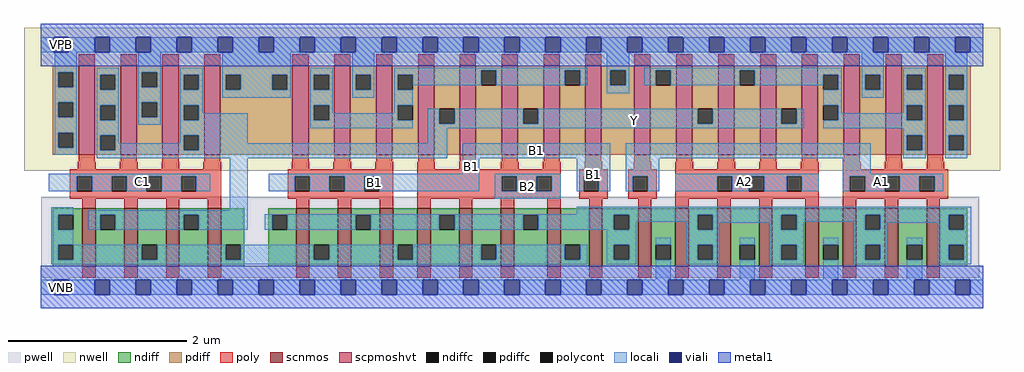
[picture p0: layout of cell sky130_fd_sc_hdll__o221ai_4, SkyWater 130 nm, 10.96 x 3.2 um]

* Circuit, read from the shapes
.subckt sky130_fd_sc_hdll__o221ai_4 A1 A2 B1 B2 C1 VGND VNB VPB VPWR Y
XM1 Y C1 n1 VNB sky130_fd_pr__nfet_01v8 w=0.65 l=0.15 m=4
XM2 n1 B1 n2 VNB sky130_fd_pr__nfet_01v8 w=0.65 l=0.15 m=4
XM3 n2 B2 n1 VNB sky130_fd_pr__nfet_01v8 w=0.65 l=0.15 m=4
XM4 VGND A1 n2 VNB sky130_fd_pr__nfet_01v8 w=0.65 l=0.15 m=4
XM5 n2 A2 VGND VNB sky130_fd_pr__nfet_01v8 w=0.65 l=0.15 m=4
XM6 Y C1 VPWR VPB sky130_fd_pr__pfet_01v8_hvt w=1 l=0.18 m=4
XM7 n3 B1 VPWR VPB sky130_fd_pr__pfet_01v8_hvt w=1 l=0.18 m=4
XM8 Y B2 n3 VPB sky130_fd_pr__pfet_01v8_hvt w=1 l=0.18 m=4
XM9 n4 A1 VPWR VPB sky130_fd_pr__pfet_01v8_hvt w=1 l=0.18 m=4
XM10 Y A2 n4 VPB sky130_fd_pr__pfet_01v8_hvt w=1 l=0.18 m=4
.ends

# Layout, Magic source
magic
tech sky130A
magscale 1 2
<< nwell >>
rect -38 261 2154 582
<< pwell >>
rect 1 21 2107 203
rect 30 -17 64 21
<< scnmos >>
rect 93 47 123 177
rect 187 47 217 177
rect 281 47 311 177
rect 375 47 405 177
rect 573 47 603 177
rect 667 47 697 177
rect 761 47 791 177
rect 845 47 875 177
rect 939 47 969 177
rect 1033 47 1063 177
rect 1137 47 1167 177
rect 1231 47 1261 177
rect 1341 47 1371 177
rect 1425 47 1455 177
rect 1519 47 1549 177
rect 1613 47 1643 177
rect 1717 47 1747 177
rect 1801 47 1831 177
rect 1895 47 1925 177
rect 1989 47 2019 177
<< scpmoshvt >>
rect 85 297 121 497
rect 179 297 215 497
rect 273 297 309 497
rect 367 297 403 497
rect 565 297 601 497
rect 659 297 695 497
rect 753 297 789 497
rect 847 297 883 497
rect 941 297 977 497
rect 1035 297 1071 497
rect 1129 297 1165 497
rect 1223 297 1259 497
rect 1333 297 1369 497
rect 1427 297 1463 497
rect 1521 297 1557 497
rect 1615 297 1651 497
rect 1709 297 1745 497
rect 1803 297 1839 497
rect 1897 297 1933 497
rect 1991 297 2027 497
<< ndiff >>
rect 27 163 93 177
rect 27 129 39 163
rect 73 129 93 163
rect 27 95 93 129
rect 27 61 39 95
rect 73 61 93 95
rect 27 47 93 61
rect 123 163 187 177
rect 123 129 133 163
rect 167 129 187 163
rect 123 47 187 129
rect 217 95 281 177
rect 217 61 227 95
rect 261 61 281 95
rect 217 47 281 61
rect 311 163 375 177
rect 311 129 321 163
rect 355 129 375 163
rect 311 47 375 129
rect 405 95 457 177
rect 405 61 415 95
rect 449 61 457 95
rect 405 47 457 61
rect 511 163 573 177
rect 511 129 519 163
rect 553 129 573 163
rect 511 47 573 129
rect 603 95 667 177
rect 603 61 613 95
rect 647 61 667 95
rect 603 47 667 61
rect 697 163 761 177
rect 697 129 707 163
rect 741 129 761 163
rect 697 47 761 129
rect 791 95 845 177
rect 791 61 801 95
rect 835 61 845 95
rect 791 47 845 61
rect 875 163 939 177
rect 875 129 895 163
rect 929 129 939 163
rect 875 47 939 129
rect 969 95 1033 177
rect 969 61 989 95
rect 1023 61 1033 95
rect 969 47 1033 61
rect 1063 163 1137 177
rect 1063 129 1083 163
rect 1117 129 1137 163
rect 1063 47 1137 129
rect 1167 95 1231 177
rect 1167 61 1177 95
rect 1211 61 1231 95
rect 1167 47 1231 61
rect 1261 163 1341 177
rect 1261 129 1287 163
rect 1321 129 1341 163
rect 1261 95 1341 129
rect 1261 61 1287 95
rect 1321 61 1341 95
rect 1261 47 1341 61
rect 1371 95 1425 177
rect 1371 61 1381 95
rect 1415 61 1425 95
rect 1371 47 1425 61
rect 1455 163 1519 177
rect 1455 129 1475 163
rect 1509 129 1519 163
rect 1455 95 1519 129
rect 1455 61 1475 95
rect 1509 61 1519 95
rect 1455 47 1519 61
rect 1549 95 1613 177
rect 1549 61 1569 95
rect 1603 61 1613 95
rect 1549 47 1613 61
rect 1643 163 1717 177
rect 1643 129 1663 163
rect 1697 129 1717 163
rect 1643 95 1717 129
rect 1643 61 1663 95
rect 1697 61 1717 95
rect 1643 47 1717 61
rect 1747 95 1801 177
rect 1747 61 1757 95
rect 1791 61 1801 95
rect 1747 47 1801 61
rect 1831 163 1895 177
rect 1831 129 1851 163
rect 1885 129 1895 163
rect 1831 95 1895 129
rect 1831 61 1851 95
rect 1885 61 1895 95
rect 1831 47 1895 61
rect 1925 95 1989 177
rect 1925 61 1945 95
rect 1979 61 1989 95
rect 1925 47 1989 61
rect 2019 163 2081 177
rect 2019 129 2039 163
rect 2073 129 2081 163
rect 2019 95 2081 129
rect 2019 61 2039 95
rect 2073 61 2081 95
rect 2019 47 2081 61
<< pdiff >>
rect 27 483 85 497
rect 27 449 39 483
rect 73 449 85 483
rect 27 415 85 449
rect 27 381 39 415
rect 73 381 85 415
rect 27 347 85 381
rect 27 313 39 347
rect 73 313 85 347
rect 27 297 85 313
rect 121 477 179 497
rect 121 443 133 477
rect 167 443 179 477
rect 121 409 179 443
rect 121 375 133 409
rect 167 375 179 409
rect 121 341 179 375
rect 121 307 133 341
rect 167 307 179 341
rect 121 297 179 307
rect 215 483 273 497
rect 215 449 227 483
rect 261 449 273 483
rect 215 415 273 449
rect 215 381 227 415
rect 261 381 273 415
rect 215 297 273 381
rect 309 477 367 497
rect 309 443 321 477
rect 355 443 367 477
rect 309 409 367 443
rect 309 375 321 409
rect 355 375 367 409
rect 309 341 367 375
rect 309 307 321 341
rect 355 307 367 341
rect 309 297 367 307
rect 403 477 565 497
rect 403 443 415 477
rect 449 443 519 477
rect 553 443 565 477
rect 403 297 565 443
rect 601 477 659 497
rect 601 443 613 477
rect 647 443 659 477
rect 601 409 659 443
rect 601 375 613 409
rect 647 375 659 409
rect 601 297 659 375
rect 695 477 753 497
rect 695 443 707 477
rect 741 443 753 477
rect 695 297 753 443
rect 789 477 847 497
rect 789 443 801 477
rect 835 443 847 477
rect 789 409 847 443
rect 789 375 801 409
rect 835 375 847 409
rect 789 297 847 375
rect 883 401 941 497
rect 883 367 895 401
rect 929 367 941 401
rect 883 297 941 367
rect 977 487 1035 497
rect 977 453 989 487
rect 1023 453 1035 487
rect 977 297 1035 453
rect 1071 401 1129 497
rect 1071 367 1083 401
rect 1117 367 1129 401
rect 1071 297 1129 367
rect 1165 487 1223 497
rect 1165 453 1177 487
rect 1211 453 1223 487
rect 1165 297 1223 453
rect 1259 487 1333 497
rect 1259 453 1279 487
rect 1313 453 1333 487
rect 1259 297 1333 453
rect 1369 487 1427 497
rect 1369 453 1381 487
rect 1415 453 1427 487
rect 1369 297 1427 453
rect 1463 401 1521 497
rect 1463 367 1475 401
rect 1509 367 1521 401
rect 1463 297 1521 367
rect 1557 487 1615 497
rect 1557 453 1569 487
rect 1603 453 1615 487
rect 1557 297 1615 453
rect 1651 401 1709 497
rect 1651 367 1663 401
rect 1697 367 1709 401
rect 1651 297 1709 367
rect 1745 477 1803 497
rect 1745 443 1757 477
rect 1791 443 1803 477
rect 1745 409 1803 443
rect 1745 375 1757 409
rect 1791 375 1803 409
rect 1745 297 1803 375
rect 1839 477 1897 497
rect 1839 443 1851 477
rect 1885 443 1897 477
rect 1839 297 1897 443
rect 1933 477 1991 497
rect 1933 443 1945 477
rect 1979 443 1991 477
rect 1933 409 1991 443
rect 1933 375 1945 409
rect 1979 375 1991 409
rect 1933 341 1991 375
rect 1933 307 1945 341
rect 1979 307 1991 341
rect 1933 297 1991 307
rect 2027 477 2088 497
rect 2027 443 2039 477
rect 2073 443 2088 477
rect 2027 409 2088 443
rect 2027 375 2039 409
rect 2073 375 2088 409
rect 2027 341 2088 375
rect 2027 307 2039 341
rect 2073 307 2088 341
rect 2027 297 2088 307
<< ndiffc >>
rect 39 129 73 163
rect 39 61 73 95
rect 133 129 167 163
rect 227 61 261 95
rect 321 129 355 163
rect 415 61 449 95
rect 519 129 553 163
rect 613 61 647 95
rect 707 129 741 163
rect 801 61 835 95
rect 895 129 929 163
rect 989 61 1023 95
rect 1083 129 1117 163
rect 1177 61 1211 95
rect 1287 129 1321 163
rect 1287 61 1321 95
rect 1381 61 1415 95
rect 1475 129 1509 163
rect 1475 61 1509 95
rect 1569 61 1603 95
rect 1663 129 1697 163
rect 1663 61 1697 95
rect 1757 61 1791 95
rect 1851 129 1885 163
rect 1851 61 1885 95
rect 1945 61 1979 95
rect 2039 129 2073 163
rect 2039 61 2073 95
<< pdiffc >>
rect 39 449 73 483
rect 39 381 73 415
rect 39 313 73 347
rect 133 443 167 477
rect 133 375 167 409
rect 133 307 167 341
rect 227 449 261 483
rect 227 381 261 415
rect 321 443 355 477
rect 321 375 355 409
rect 321 307 355 341
rect 415 443 449 477
rect 519 443 553 477
rect 613 443 647 477
rect 613 375 647 409
rect 707 443 741 477
rect 801 443 835 477
rect 801 375 835 409
rect 895 367 929 401
rect 989 453 1023 487
rect 1083 367 1117 401
rect 1177 453 1211 487
rect 1279 453 1313 487
rect 1381 453 1415 487
rect 1475 367 1509 401
rect 1569 453 1603 487
rect 1663 367 1697 401
rect 1757 443 1791 477
rect 1757 375 1791 409
rect 1851 443 1885 477
rect 1945 443 1979 477
rect 1945 375 1979 409
rect 1945 307 1979 341
rect 2039 443 2073 477
rect 2039 375 2073 409
rect 2039 307 2073 341
<< poly >>
rect 85 497 121 523
rect 179 497 215 523
rect 273 497 309 523
rect 367 497 403 523
rect 565 497 601 523
rect 659 497 695 523
rect 753 497 789 523
rect 847 497 883 523
rect 941 497 977 523
rect 1035 497 1071 523
rect 1129 497 1165 523
rect 1223 497 1259 523
rect 1333 497 1369 523
rect 1427 497 1463 523
rect 1521 497 1557 523
rect 1615 497 1651 523
rect 1709 497 1745 523
rect 1803 497 1839 523
rect 1897 497 1933 523
rect 1991 497 2027 523
rect 85 282 121 297
rect 179 282 215 297
rect 273 282 309 297
rect 367 282 403 297
rect 565 282 601 297
rect 659 282 695 297
rect 753 282 789 297
rect 847 282 883 297
rect 941 282 977 297
rect 1035 282 1071 297
rect 1129 282 1165 297
rect 1223 282 1259 297
rect 1333 282 1369 297
rect 1427 282 1463 297
rect 1521 282 1557 297
rect 1615 282 1651 297
rect 1709 282 1745 297
rect 1803 282 1839 297
rect 1897 282 1933 297
rect 1991 282 2027 297
rect 83 265 123 282
rect 177 265 217 282
rect 271 265 311 282
rect 365 265 405 282
rect 563 265 603 282
rect 657 265 697 282
rect 751 265 791 282
rect 65 249 405 265
rect 65 215 81 249
rect 115 215 159 249
rect 193 215 237 249
rect 271 215 315 249
rect 349 215 405 249
rect 65 199 405 215
rect 554 249 791 265
rect 554 215 570 249
rect 604 215 648 249
rect 682 215 726 249
rect 760 215 791 249
rect 554 199 791 215
rect 93 177 123 199
rect 187 177 217 199
rect 281 177 311 199
rect 375 177 405 199
rect 573 177 603 199
rect 667 177 697 199
rect 761 177 791 199
rect 845 265 885 282
rect 939 265 979 282
rect 1033 265 1073 282
rect 1127 265 1167 282
rect 1221 265 1261 282
rect 1331 265 1371 282
rect 1425 265 1465 282
rect 1519 265 1559 282
rect 1613 265 1653 282
rect 1707 265 1747 282
rect 845 249 1167 265
rect 845 215 1035 249
rect 1069 215 1113 249
rect 1147 215 1167 249
rect 845 199 1167 215
rect 1209 249 1273 265
rect 1209 215 1219 249
rect 1253 215 1273 249
rect 1209 199 1273 215
rect 1319 249 1383 265
rect 1319 215 1329 249
rect 1363 215 1383 249
rect 1319 199 1383 215
rect 1425 249 1747 265
rect 1425 215 1519 249
rect 1553 215 1590 249
rect 1624 215 1675 249
rect 1709 215 1747 249
rect 1425 199 1747 215
rect 845 177 875 199
rect 939 177 969 199
rect 1033 177 1063 199
rect 1137 177 1167 199
rect 1231 177 1261 199
rect 1341 177 1371 199
rect 1425 177 1455 199
rect 1519 177 1549 199
rect 1613 177 1643 199
rect 1717 177 1747 199
rect 1801 265 1841 282
rect 1895 265 1935 282
rect 1989 265 2029 282
rect 1801 249 2038 265
rect 1801 215 1817 249
rect 1851 215 1895 249
rect 1929 215 1973 249
rect 2007 215 2038 249
rect 1801 199 2038 215
rect 1801 177 1831 199
rect 1895 177 1925 199
rect 1989 177 2019 199
rect 93 21 123 47
rect 187 21 217 47
rect 281 21 311 47
rect 375 21 405 47
rect 573 21 603 47
rect 667 21 697 47
rect 761 21 791 47
rect 845 21 875 47
rect 939 21 969 47
rect 1033 21 1063 47
rect 1137 21 1167 47
rect 1231 21 1261 47
rect 1341 21 1371 47
rect 1425 21 1455 47
rect 1519 21 1549 47
rect 1613 21 1643 47
rect 1717 21 1747 47
rect 1801 21 1831 47
rect 1895 21 1925 47
rect 1989 21 2019 47
<< polycont >>
rect 81 215 115 249
rect 159 215 193 249
rect 237 215 271 249
rect 315 215 349 249
rect 570 215 604 249
rect 648 215 682 249
rect 726 215 760 249
rect 1035 215 1069 249
rect 1113 215 1147 249
rect 1219 215 1253 249
rect 1329 215 1363 249
rect 1519 215 1553 249
rect 1590 215 1624 249
rect 1675 215 1709 249
rect 1817 215 1851 249
rect 1895 215 1929 249
rect 1973 215 2007 249
<< locali >>
rect 0 527 29 561
rect 63 527 121 561
rect 155 527 213 561
rect 247 527 305 561
rect 339 527 397 561
rect 431 527 489 561
rect 523 527 581 561
rect 615 527 673 561
rect 707 527 765 561
rect 799 527 857 561
rect 891 527 949 561
rect 983 527 1041 561
rect 1075 527 1133 561
rect 1167 527 1225 561
rect 1259 527 1317 561
rect 1351 527 1409 561
rect 1443 527 1501 561
rect 1535 527 1593 561
rect 1627 527 1685 561
rect 1719 527 1777 561
rect 1811 527 1869 561
rect 1903 527 1961 561
rect 1995 527 2053 561
rect 2087 527 2116 561
rect 31 483 81 527
rect 31 449 39 483
rect 73 449 81 483
rect 31 415 81 449
rect 31 381 39 415
rect 73 381 81 415
rect 31 347 81 381
rect 31 313 39 347
rect 73 313 81 347
rect 31 297 81 313
rect 125 477 175 493
rect 125 443 133 477
rect 167 443 175 477
rect 125 409 175 443
rect 125 375 133 409
rect 167 375 175 409
rect 125 341 175 375
rect 219 483 269 527
rect 219 449 227 483
rect 261 449 269 483
rect 219 415 269 449
rect 219 381 227 415
rect 261 381 269 415
rect 219 365 269 381
rect 313 477 363 493
rect 313 443 321 477
rect 355 443 363 477
rect 313 409 363 443
rect 407 477 561 527
rect 407 443 415 477
rect 449 443 519 477
rect 553 443 561 477
rect 407 425 561 443
rect 605 477 655 493
rect 605 443 613 477
rect 647 443 655 477
rect 313 375 321 409
rect 355 391 363 409
rect 605 409 655 443
rect 699 477 749 527
rect 699 443 707 477
rect 741 443 749 477
rect 699 425 749 443
rect 793 487 1227 493
rect 793 477 989 487
rect 793 443 801 477
rect 835 453 989 477
rect 1023 453 1177 487
rect 1211 453 1227 487
rect 1271 487 1321 527
rect 1271 453 1279 487
rect 1313 453 1321 487
rect 1355 487 1799 493
rect 1355 453 1381 487
rect 1415 453 1569 487
rect 1603 477 1799 487
rect 1603 453 1757 477
rect 355 375 465 391
rect 125 307 133 341
rect 167 323 175 341
rect 313 341 465 375
rect 605 375 613 409
rect 647 391 655 409
rect 793 409 835 443
rect 1271 435 1321 453
rect 1791 443 1799 477
rect 793 391 801 409
rect 647 375 801 391
rect 1757 409 1799 443
rect 1843 477 1893 527
rect 1843 443 1851 477
rect 1885 443 1893 477
rect 1843 425 1893 443
rect 1937 477 1987 493
rect 1937 443 1945 477
rect 1979 443 1987 477
rect 605 357 835 375
rect 869 367 895 401
rect 929 367 1083 401
rect 1117 367 1475 401
rect 1509 367 1663 401
rect 1697 367 1713 401
rect 869 357 1713 367
rect 1791 391 1799 409
rect 1937 409 1987 443
rect 1937 391 1945 409
rect 1791 375 1945 391
rect 1979 375 1987 409
rect 1757 357 1987 375
rect 313 323 321 341
rect 167 307 321 323
rect 355 323 465 341
rect 869 323 913 357
rect 1937 341 1987 357
rect 355 307 913 323
rect 125 289 913 307
rect 947 289 1279 323
rect 18 249 380 255
rect 18 215 81 249
rect 115 215 159 249
rect 193 215 237 249
rect 271 215 315 249
rect 349 215 380 249
rect 23 163 73 179
rect 424 173 465 289
rect 947 255 985 289
rect 512 249 985 255
rect 512 215 570 249
rect 604 215 648 249
rect 682 215 726 249
rect 760 215 985 249
rect 1019 249 1167 255
rect 1019 215 1035 249
rect 1069 215 1113 249
rect 1147 215 1167 249
rect 1203 249 1279 289
rect 1203 215 1219 249
rect 1253 215 1279 249
rect 1313 289 1864 323
rect 1937 307 1945 341
rect 1979 307 1987 341
rect 1937 289 1987 307
rect 2031 477 2081 527
rect 2031 443 2039 477
rect 2073 443 2081 477
rect 2031 409 2081 443
rect 2031 375 2039 409
rect 2073 375 2081 409
rect 2031 341 2081 375
rect 2031 307 2039 341
rect 2073 307 2081 341
rect 2031 289 2081 307
rect 1313 249 1389 289
rect 1801 255 1864 289
rect 1313 215 1329 249
rect 1363 215 1389 249
rect 1425 249 1747 255
rect 1425 215 1519 249
rect 1553 215 1590 249
rect 1624 215 1675 249
rect 1709 215 1747 249
rect 1801 249 2027 255
rect 1801 215 1817 249
rect 1851 215 1895 249
rect 1929 215 1973 249
rect 2007 215 2027 249
rect 1019 199 1167 215
rect 23 129 39 163
rect 107 163 465 173
rect 1203 164 2089 181
rect 107 129 133 163
rect 167 129 321 163
rect 355 129 465 163
rect 503 163 2089 164
rect 503 129 519 163
rect 553 129 707 163
rect 741 129 895 163
rect 929 129 1083 163
rect 1117 129 1287 163
rect 1321 147 1475 163
rect 1321 129 1337 147
rect 23 95 73 129
rect 1271 95 1337 129
rect 1449 129 1475 147
rect 1509 145 1663 163
rect 1509 129 1525 145
rect 23 61 39 95
rect 73 61 227 95
rect 261 61 415 95
rect 449 61 613 95
rect 647 61 801 95
rect 835 61 989 95
rect 1023 61 1177 95
rect 1211 61 1227 95
rect 23 51 1227 61
rect 1271 61 1287 95
rect 1321 61 1337 95
rect 1271 51 1337 61
rect 1381 95 1415 111
rect 1381 17 1415 61
rect 1449 95 1525 129
rect 1637 129 1663 145
rect 1697 147 1851 163
rect 1697 129 1713 147
rect 1449 61 1475 95
rect 1509 61 1525 95
rect 1449 51 1525 61
rect 1569 95 1603 111
rect 1569 17 1603 61
rect 1637 95 1713 129
rect 1825 129 1851 147
rect 1885 145 2039 163
rect 1885 129 1901 145
rect 1637 61 1663 95
rect 1697 61 1713 95
rect 1637 51 1713 61
rect 1757 95 1791 111
rect 1757 17 1791 61
rect 1825 95 1901 129
rect 2013 129 2039 145
rect 2073 129 2089 163
rect 1825 61 1851 95
rect 1885 61 1901 95
rect 1825 51 1901 61
rect 1945 95 1979 111
rect 1945 17 1979 61
rect 2013 95 2089 129
rect 2013 61 2039 95
rect 2073 61 2089 95
rect 2013 51 2089 61
rect 0 -17 29 17
rect 63 -17 121 17
rect 155 -17 213 17
rect 247 -17 305 17
rect 339 -17 397 17
rect 431 -17 489 17
rect 523 -17 581 17
rect 615 -17 673 17
rect 707 -17 765 17
rect 799 -17 857 17
rect 891 -17 949 17
rect 983 -17 1041 17
rect 1075 -17 1133 17
rect 1167 -17 1225 17
rect 1259 -17 1317 17
rect 1351 -17 1409 17
rect 1443 -17 1501 17
rect 1535 -17 1593 17
rect 1627 -17 1685 17
rect 1719 -17 1777 17
rect 1811 -17 1869 17
rect 1903 -17 1961 17
rect 1995 -17 2053 17
rect 2087 -17 2116 17
<< viali >>
rect 29 527 63 561
rect 121 527 155 561
rect 213 527 247 561
rect 305 527 339 561
rect 397 527 431 561
rect 489 527 523 561
rect 581 527 615 561
rect 673 527 707 561
rect 765 527 799 561
rect 857 527 891 561
rect 949 527 983 561
rect 1041 527 1075 561
rect 1133 527 1167 561
rect 1225 527 1259 561
rect 1317 527 1351 561
rect 1409 527 1443 561
rect 1501 527 1535 561
rect 1593 527 1627 561
rect 1685 527 1719 561
rect 1777 527 1811 561
rect 1869 527 1903 561
rect 1961 527 1995 561
rect 2053 527 2087 561
rect 29 -17 63 17
rect 121 -17 155 17
rect 213 -17 247 17
rect 305 -17 339 17
rect 397 -17 431 17
rect 489 -17 523 17
rect 581 -17 615 17
rect 673 -17 707 17
rect 765 -17 799 17
rect 857 -17 891 17
rect 949 -17 983 17
rect 1041 -17 1075 17
rect 1133 -17 1167 17
rect 1225 -17 1259 17
rect 1317 -17 1351 17
rect 1409 -17 1443 17
rect 1501 -17 1535 17
rect 1593 -17 1627 17
rect 1685 -17 1719 17
rect 1777 -17 1811 17
rect 1869 -17 1903 17
rect 1961 -17 1995 17
rect 2053 -17 2087 17
<< metal1 >>
rect 0 561 2116 592
rect 0 527 29 561
rect 63 527 121 561
rect 155 527 213 561
rect 247 527 305 561
rect 339 527 397 561
rect 431 527 489 561
rect 523 527 581 561
rect 615 527 673 561
rect 707 527 765 561
rect 799 527 857 561
rect 891 527 949 561
rect 983 527 1041 561
rect 1075 527 1133 561
rect 1167 527 1225 561
rect 1259 527 1317 561
rect 1351 527 1409 561
rect 1443 527 1501 561
rect 1535 527 1593 561
rect 1627 527 1685 561
rect 1719 527 1777 561
rect 1811 527 1869 561
rect 1903 527 1961 561
rect 1995 527 2053 561
rect 2087 527 2116 561
rect 0 496 2116 527
rect 0 17 2116 48
rect 0 -17 29 17
rect 63 -17 121 17
rect 155 -17 213 17
rect 247 -17 305 17
rect 339 -17 397 17
rect 431 -17 489 17
rect 523 -17 581 17
rect 615 -17 673 17
rect 707 -17 765 17
rect 799 -17 857 17
rect 891 -17 949 17
rect 983 -17 1041 17
rect 1075 -17 1133 17
rect 1167 -17 1225 17
rect 1259 -17 1317 17
rect 1351 -17 1409 17
rect 1443 -17 1501 17
rect 1535 -17 1593 17
rect 1627 -17 1685 17
rect 1719 -17 1777 17
rect 1811 -17 1869 17
rect 1903 -17 1961 17
rect 1995 -17 2053 17
rect 2087 -17 2116 17
rect 0 -48 2116 -17
<< labels >>
flabel locali s 1203 215 1279 289 0 FreeSans 400 0 0 0 B1
port 3 nsew signal input
flabel locali s 1019 199 1167 255 0 FreeSans 400 0 0 0 B2
port 4 nsew signal input
flabel locali s 1564 221 1598 255 0 FreeSans 400 180 0 0 A2
port 2 nsew signal input
flabel locali s 211 221 245 255 0 FreeSans 400 0 0 0 C1
port 5 nsew signal input
flabel locali s 1317 357 1351 391 0 FreeSans 400 180 0 0 Y
port 10 nsew signal output
flabel locali s 1870 221 1904 255 0 FreeSans 400 180 0 0 A1
port 1 nsew signal input
flabel pwell s 30 -17 64 17 0 FreeSans 200 0 0 0 VNB
port 7 nsew ground bidirectional
flabel nwell s 30 527 64 561 0 FreeSans 200 0 0 0 VPB
port 8 nsew power bidirectional
flabel metal1 s 30 -17 64 17 0 FreeSans 200 0 0 0 VGND
port 6 nsew ground bidirectional
flabel metal1 s 30 527 64 561 0 FreeSans 200 0 0 0 VPWR
port 9 nsew power bidirectional
rlabel comment s 0 0 0 0 4 o221ai_4
rlabel locali s 947 289 1279 323 1 B1
port 3 nsew signal input
rlabel locali s 947 255 985 289 1 B1
port 3 nsew signal input
rlabel locali s 512 215 985 255 1 B1
port 3 nsew signal input
<< properties >>
string LEFsite unithd
string LEFclass CORE
string FIXED_BBOX 0 0 2116 544
string GDS_FILE $PDKPATH/libs.ref/sky130_fd_sc_hdll/gds/sky130_fd_sc_hdll.gds
string LEFsymmetry X Y R90
string GDS_END 2533304
string GDS_START 2519234
string LEFproperties maskLayoutSubType "abstract" prCellType "standard" originalViewName "layout"
<< end >>
